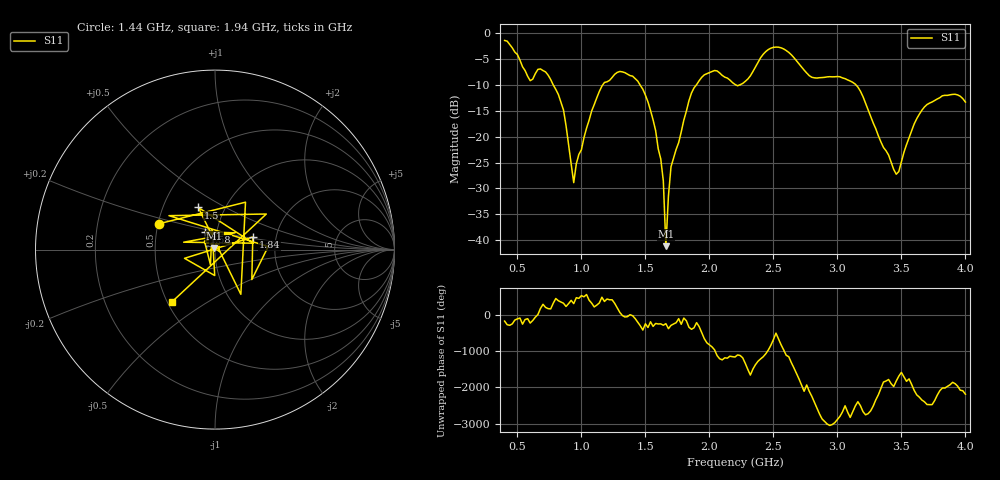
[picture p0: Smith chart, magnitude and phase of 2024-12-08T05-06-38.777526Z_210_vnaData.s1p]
!Created with skrf (http://scikit-rf.org).
# Hz S RI R 50.0
!freq ReS11 ImS11
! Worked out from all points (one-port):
!   181 points, 400 MHz to 4 GHz, reference 50 ohm
!   lowest |S11| = -41.2 dB at 1.66 GHz (marker M1), VSWR 1.02, Z = 49.6 + j0.783 ohm
!   |S11| at or under -10 dB: 780.1 MHz to 1.166 GHz (386.1 MHz wide, 39.7 % of centre); 1.459 GHz to 1.898 GHz (439.3 MHz wide, 26.2 % of centre); 3.146 GHz to end of sweep (the widest 3 of 4)
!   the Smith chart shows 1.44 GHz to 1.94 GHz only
!   S11 on the Smith chart (normalised r, x): 1.44 GHz: 0.50, +0.16; 1.5 GHz: 0.75, +0.38; 1.58 GHz: 0.87, +0.17; 1.84 GHz: 1.51, +0.22; 1.94 GHz: 0.53, -0.36
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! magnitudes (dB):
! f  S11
! 400 MHz  -1.4
! 600 MHz  -9.2
! 720 MHz  -7.5
! 860 MHz  -14.8
! 940 MHz  -28.9
! 980 MHz  -23.4
! 1.14 GHz  -11.3
! 1.3 GHz  -7.4
! 1.44 GHz  -9.2
! 1.5 GHz  -12.0
! 1.58 GHz  -18.8
! 1.64 GHz  -28.5
! 1.66 GHz  -41.2
! 1.68 GHz  -31.4
! 1.7 GHz  -25.8
! 1.76 GHz  -21.1
! 1.84 GHz  -13.1
! 1.94 GHz  -8.5
! 2.2 GHz  -9.9
! 2.48 GHz  -2.9
! 2.66 GHz  -4.7
! 2.8 GHz  -8.5
! 3.1 GHz  -9.2
! 3.18 GHz  -11.2
! 3.46 GHz  -27.2
! 3.56 GHz  -20.2
! 3.7 GHz  -13.8
! 4 GHz  -13.3
